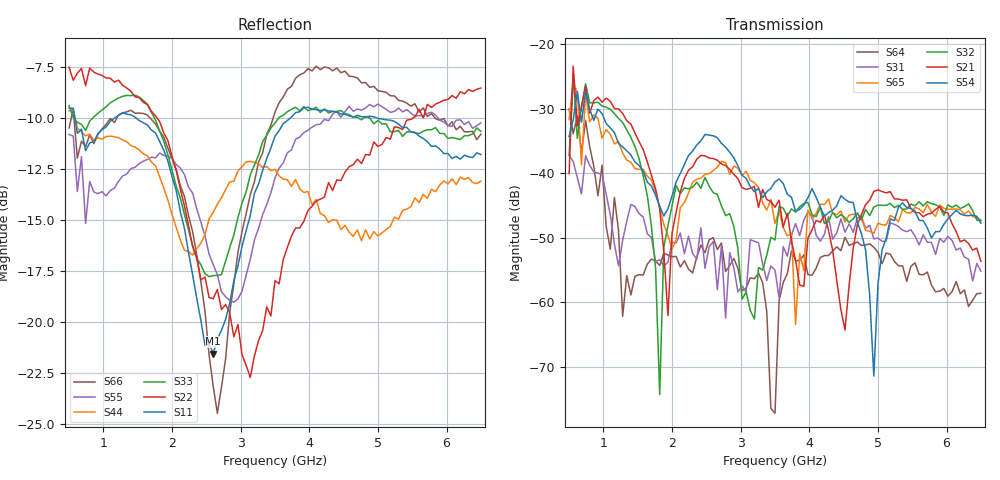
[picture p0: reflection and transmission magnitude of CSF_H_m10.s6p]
!Keysight Technologies,M9804A,MY58100912,A.14.10.03
!Date: Thursday, April 27, 2023 10:28:33
!Correction: S11(C  6-Port  )
!S12(C  6-Port  )
!S13(C  6-Port  )
!S14(C  6-Port  )
!S15(C  6-Port  )
!S16(C  6-Port  )
!S21(C  6-Port  )
!S22(C  6-Port  )
!S23(C  6-Port  )
!S24(C  6-Port  )
!S25(C  6-Port  )
!S26(C  6-Port  )
!S31(C  6-Port  )
!S32(C  6-Port  )
!S33(C  6-Port  )
!S34(C  6-Port  )
!S35(C  6-Port  )
!S36(C  6-Port  )
!S41(C  6-Port  )
!S42(C  6-Port  )
!S43(C  6-Port  )
!S44(C  6-Port  )
!S45(C  6-Port  )
!S46(C  6-Port  )
!S51(C  6-Port  )
!S52(C  6-Port  )
!S53(C  6-Port  )
!S54(C  6-Port  )
!S55(C  6-Port  )
!S56(C  6-Port  )
!S61(C  6-Port  )
!S62(C  6-Port  )
!S63(C  6-Port  )
!S64(C  6-Port  )
!S65(C  6-Port  )
!S66(C  6-Port  )
!S6P File: Measurement: :
# Hz S  RI  R 50
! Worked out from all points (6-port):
!   101 points, 500 MHz to 6.5 GHz, reference 50 ohm
!   strongest paths, dB at 500 MHz, 2 GHz, 3.5 GHz, 5 GHz, 6.5 GHz:
!     S54: -34.3, -43.5, -41.4, -57.2, -47.7
!     S21: -40.1, -49.3, -45.3, -42.6, -53.6
!     S32: -37.3, -45.0, -50.3, -44.9, -47.3
!     S65: -31.7, -51.7, -47.8, -47.7, -47.3
!     S31: -37.2, -50.7, -55.0, -50.0, -55.2
!     S64: -30.1, -52.9, -77.2, -52.2, -58.6
!   lowest |S11| = -21.5 dB at 2.6 GHz (marker M1), VSWR 1.18, Z = 42.5 + j1.95 ohm
!   |S11| at or under -10 dB: 583.8 MHz to 1.161 GHz (576.8 MHz wide, 66.1 % of centre); 1.479 GHz to 3.72 GHz (2.241 GHz wide, 86.2 % of centre); 4.99 GHz to end of sweep
